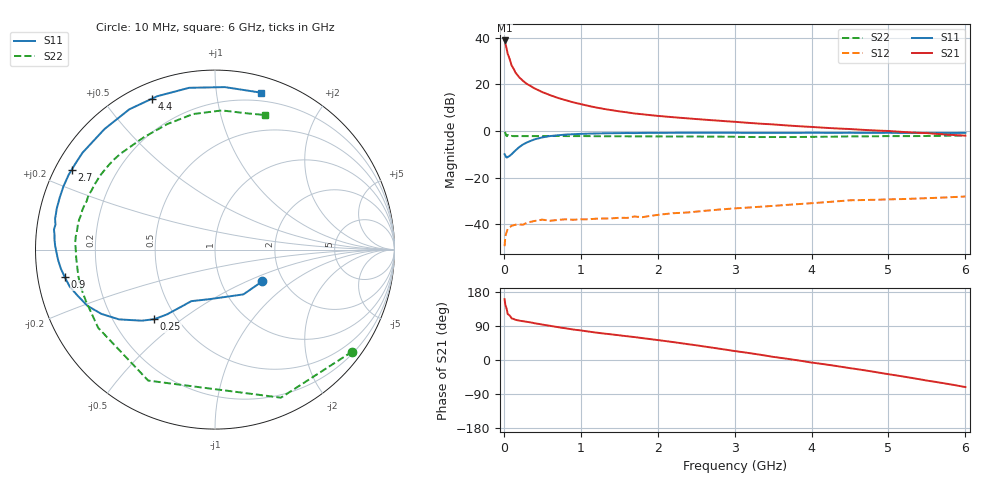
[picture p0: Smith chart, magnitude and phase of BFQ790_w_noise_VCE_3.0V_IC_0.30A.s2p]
! Infineon Technologies  Discrete & RF Semiconductors
! BFQ790
! VCE =  3.0 V,  IC = 0.30 A
! Common Emitter S-Parameters:  May 2015
# GHz  S  MA  R  50
!  f  S11  S21  S12  S22
! GHz  MAG  ANG  MAG  ANG  MAG  ANG  MAG  ANG
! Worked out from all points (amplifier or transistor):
!   77 points, 10 MHz to 6 GHz, reference 50 ohm
!   highest |S21| = 38.8 dB at 10 MHz (marker M1)
!   |S21| within 3 dB of that: start of sweep to 32.23 MHz
!   unconditionally stable (mu >= 1): 201 MHz to 490.8 MHz; 507.7 MHz to end of sweep
!   at 130 MHz: K = 0.76, MSG = 33.4 dB, |S12| = -40.4 dB
!   at 2.2 GHz: K = 1.31, MAG = 17.2 dB, |S12| = -35.2 dB
!   at 6 GHz: K = 1.08, MAG = 11.3 dB, |S12| = -28.1 dB
!   lowest NFmin = 4.10 dB at 1.5 GHz
!   S11 on the Smith chart (normalised r, x): 10 MHz: 1.57, -0.62; 250 MHz: 0.38, -0.40; 900 MHz: 0.08, -0.09; 2.7 GHz: 0.05, +0.26; 4.4 GHz: 0.07, +0.66; 6 GHz: 0.13, +1.32
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0.01  0.3177 -33.7  86.86 160.4  0.0034 68.8  0.9528 -36.6
0.02  0.2955 -57.6  74.71 144.9  0.0056 54.0  0.903 -66.0
0.05  0.2773 -95.9  45.13 121.4  0.008 34.9  0.8192 -117.0
0.1  0.3162 -114.7  25.52 110.0  0.0093 20.3  0.7833 -146.2
0.15  0.3807 -121.6  17.97 106.1  0.0098 19.1  0.7744 -158.3
0.2  0.4502 -126.6  14.12 104.0  0.0099 19.4  0.7771 -164.7
0.25  0.5143 -131.1  11.79 102.3  0.0098 18.7  0.7755 -168.9
0.3  0.568 -135.8  10.16 100.7  0.0108 15.5  0.7737 -172.2
0.4  0.6614 -144.0  8.134 97.0  0.0118 13.4  0.7747 -176.7
0.5  0.7273 -150.5  6.797 93.5  0.0126 11.1  0.7759 179.9
0.6  0.7766 -156.2  5.86 90.2  0.0119 14.4  0.7798 177.1
0.7  0.807 -161.4  5.119 86.8  0.0124 16.5  0.7792 174.7
0.9  0.851 -169.6  4.11 80.5  0.0125 11.5  0.7757 171.1
1.1  0.8761 -176.2  3.444 75.1  0.0128 14.3  0.7753 167.6
1.5  0.8981 174.7  2.63 65.2  0.0138 16.3  0.7695 161.9
2.1  0.9111 163.5  2.035 50.0  0.0166 17.5  0.7624 153.0
2.7  0.9139 150.8  1.701 32.9  0.02 12.6  0.7559 141.2
3.1  0.9109 141.6  1.525 20.9  0.0224 7.8  0.7454 132.1
4.1  0.9127 119.3  1.19 -9.4  0.0291 -6.9  0.7489 108.5
4.4  0.9112 112.8  1.117 -18.3  0.0317 -12.9  0.7592 101.4
5.1  0.9082 96.6  0.973 -40.6  0.0345 -27.6  0.775 85.2
6  0.9109 73.8  0.794 -71.5  0.0394 -48.7  0.7995 69.7
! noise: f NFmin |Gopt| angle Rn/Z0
0.45  6.78  0.53  143  0.71
0.9  4.78  0.66  170  0.19
1.5  4.1  0.74  -171  0.11
1.8  4.11  0.76  -166  0.14
2.6  4.26  0.78  -150  0.37
3.5  4.69  0.89  -135  0.75
